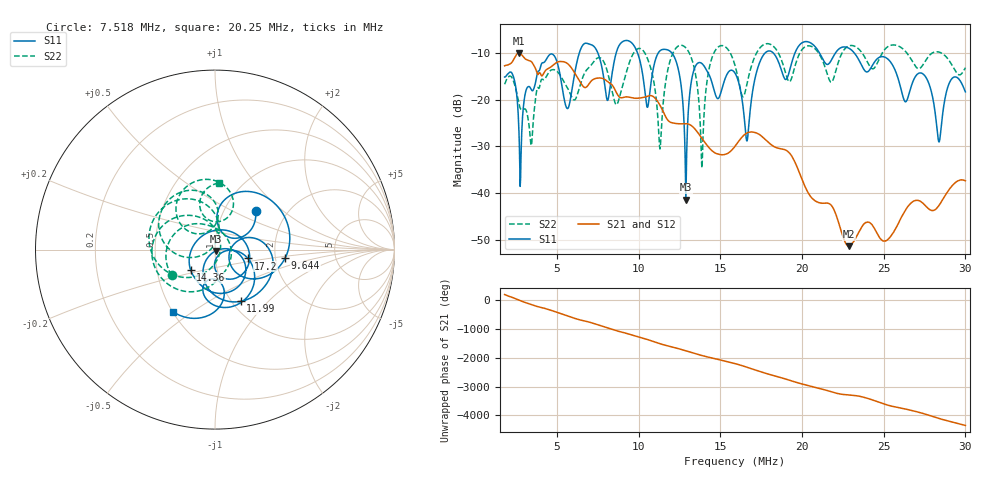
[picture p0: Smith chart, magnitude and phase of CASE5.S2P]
!Agilent Technologies,E5061B,MY49101568,A.02.00
!Date: Wed Mar 01 13:51:25 2023
!Data & Calibration Information:
!Freq	S11:SOLT2(OFF)	S21:SOLT2(OFF)	S12:SOLT2(OFF)	S22:SOLT2(OFF)
# Hz S dB R 50
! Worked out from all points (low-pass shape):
!   1155 points, 1.8 MHz to 30 MHz, reference 50 ohm
!   highest |S21| = -10.05 dB at 2.68 MHz (marker M1); lowest = -51.4 dB at 22.86 MHz (marker M2)
!   |S21| within 3 dB of the highest: start of sweep to 3.645 MHz; 4.619 MHz to 5.854 MHz (1.235 MHz wide, 23.6 % of centre)
!   lowest |S11| = -41.4 dB at 12.89 MHz (marker M3), VSWR 1.02, Z = 50.4 - j0.726 ohm
!   |S11| at or under -10 dB: start of sweep to 6.374 MHz; 12.03 MHz to 17.75 MHz (5.721 MHz wide, 38.4 % of centre); 23.19 MHz to end of sweep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
!   |S22| runs from -34.6 to -8.0 dB; largest |S21 - S12| = 0.004
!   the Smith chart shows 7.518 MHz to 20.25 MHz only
!   S11 on the Smith chart (normalised r, x): 7.518 MHz: 1.40, +0.66; 9.644 MHz: 2.26, -0.26; 11.99 MHz: 1.10, -0.71; 14.36 MHz: 0.74, -0.17; 17.2 MHz: 1.44, -0.15; 20.25 MHz: 0.50, -0.42
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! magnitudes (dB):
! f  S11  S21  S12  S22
! 1.8 MHz  -15.2  -12.8  -12.8  -16.7
! 2.68 MHz  -27.0  -10.1  -10.0  -20.9
! 6.516 MHz  -8.7  -16.8  -16.7  -15.9
! 7.518 MHz  -10.1  -15.4  -15.3  -11.1
! 8.105 MHz  -20.2  -16.2  -16.2  -14.2
! 8.642 MHz  -9.8  -18.5  -18.5  -21.1
! 9.644 MHz  -8.1  -19.7  -19.7  -10.4
! 10.52 MHz  -21.6  -19.3  -19.4  -11.1
! 11.21 MHz  -10.0  -20.6  -20.6  -25.6
! 11.99 MHz  -9.8  -24.9  -25.0  -11.0
! 12.89 MHz  -41.4  -25.2  -25.2  -8.9
! 13.87 MHz  -12.3  -28.3  -28.3  -34.6
! 14.36 MHz  -15.0  -30.5  -30.5  -12.7
! 15.9 MHz  -14.3  -30.0  -30.0  -12.7
! 16.63 MHz  -28.9  -27.1  -27.2  -16.6
! 17.2 MHz  -14.4  -27.1  -27.2  -10.2
! 20.25 MHz  -7.6  -39.1  -39.1  -8.6
! 20.62 MHz  -8.1  -41.1  -41.1  -8.7
! 22.86 MHz  -9.0  -51.4  -51.3  -8.5
! 25.31 MHz  -11.5  -49.8  -49.7  -8.6
! 28.39 MHz  -29.1  -42.6  -42.6  -9.8
! 30 MHz  -18.3  -37.4  -37.3  -13.2
